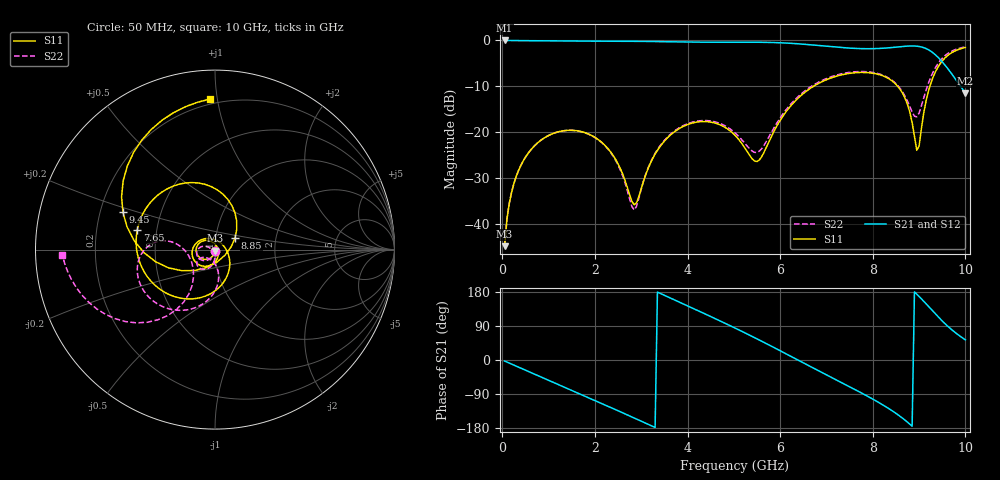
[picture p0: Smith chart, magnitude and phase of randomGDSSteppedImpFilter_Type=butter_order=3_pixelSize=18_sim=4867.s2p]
! freq	dB(S11)	phase(S11)	dB(S12)	phase(S12)
!  dB(S21)	phase(S21)	dB(S22)	phase(S22)
!S-par simulation data
#  GHz  S  DB  R 50
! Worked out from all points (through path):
!   200 points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, 50 MHz to 10 GHz, reference 50 ohm
!   highest |S21| = 0.00 dB at 50 MHz (marker M1); lowest = -11.5 dB at 10 GHz (marker M2)
!   group delay of S21, straight-line fit = 174 ps
!   lowest |S11| = -44.7 dB at 50 MHz (marker M3), VSWR 1.01, Z = 50 - j0.58 ohm
!   |S11| at or under -10 dB: start of sweep to 6.716 GHz; 8.541 GHz to 9.233 GHz (691.4 MHz wide, 7.78 % of centre)
!   |S22| runs from -44.7 to -1.4 dB; largest |S21 - S12| = 0
!   S11 on the Smith chart (normalised r, x): 50 MHz: 1.00, -0.01; 7.65 GHz: 0.39, +0.11; 8.85 GHz: 1.24, +0.16; 9.45 GHz: 0.30, +0.18; 10 GHz: 0.17, +0.95
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0.05  -44.73 -91.0  -0.00 -2.7  -0.00 -2.7  -44.72 -90.6
0.2  -33.03 -100.9  -0.02 -10.8  -0.02 -10.8  -33.02 -99.3
0.55  -24.65 -122.2  -0.05 -29.5  -0.05 -29.5  -24.64 -117.7
1.15  -20.04 -157.4  -0.11 -61.5  -0.11 -61.5  -20.04 -147.2
1.75  -19.95 166.4  -0.15 -93.4  -0.15 -93.4  -19.97 -175.3
2.4  -25.10 120.0  -0.16 -128.5  -0.16 -128.5  -25.27 160.2
2.85  -35.74 22.6  -0.19 -153.1  -0.19 -153.1  -36.86 -146.0
3.4  -23.15 -90.5  -0.25 176.4  -0.25 176.4  -22.99 -95.3
4.3  -17.65 -156.1  -0.38 126.0  -0.38 126.0  -17.44 -129.9
5.05  -20.89 140.6  -0.39 82.9  -0.39 82.9  -20.33 -150.0
5.55  -26.00 31.7  -0.40 52.7  -0.40 52.7  -24.08 -108.6
6.15  -15.20 -70.0  -0.58 14.9  -0.58 14.9  -14.78 -84.5
6.7  -10.10 -118.4  -0.99 -20.2  -0.99 -20.2  -9.82 -105.1
7.65  -7.00 165.9  -1.75 -80.2  -1.75 -80.2  -6.79 -148.6
8.35  -8.34 104.2  -1.60 -128.5  -1.60 -128.5  -8.22 179.3
8.65  -11.61 69.0  -1.31 -154.2  -1.31 -154.2  -11.32 169.7
8.85  -17.86 29.8  -1.20 -174.7  -1.20 -174.7  -15.56 -178.1
8.95  -23.88 -28.9  -1.25 173.8  -1.25 173.8  -16.63 -152.2
9  -22.99 -81.5  -1.32 167.7  -1.32 167.7  -15.77 -138.1
9.2  -11.11 -158.6  -2.02 141.8  -2.02 141.8  -9.34 -120.8
9.45  -5.13 157.9  -4.09 109.0  -4.09 109.0  -4.46 -137.0
10  -1.53 92.0  -11.48 53.1  -11.48 53.1  -1.40 -178.0
